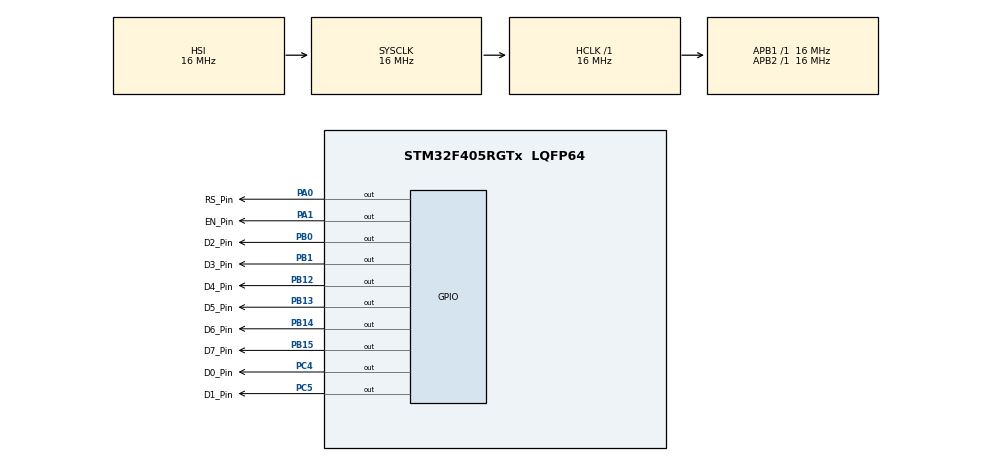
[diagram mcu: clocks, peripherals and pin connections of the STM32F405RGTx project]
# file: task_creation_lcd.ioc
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Mcu.Family=STM32F4
Mcu.Name=STM32F405RGTx
Mcu.Package=LQFP64
NVIC.PriorityGroup=NVIC_PRIORITYGROUP_4
PA0-WKUP.GPIO_Label=RS_Pin
PA0-WKUP.Signal=GPIO_Output
PA1.GPIO_Label=EN_Pin
PA1.Signal=GPIO_Output
PB0.GPIO_Label=D2_Pin
PB0.Signal=GPIO_Output
PB1.GPIO_Label=D3_Pin
PB1.Signal=GPIO_Output
PB12.GPIO_Label=D4_Pin
PB12.Signal=GPIO_Output
PB13.GPIO_Label=D5_Pin
PB13.Signal=GPIO_Output
PB14.GPIO_Label=D6_Pin
PB14.Signal=GPIO_Output
PB15.GPIO_Label=D7_Pin
PB15.Signal=GPIO_Output
PC4.GPIO_Label=D0_Pin
PC4.Signal=GPIO_Output
PC5.GPIO_Label=D1_Pin
PC5.Signal=GPIO_Output
ProjectManager.HeapSize=0x200
ProjectManager.StackSize=0x400
ProjectManager.TargetToolchain=STM32CubeIDE
RCC.AHBFreq_Value=16000000
RCC.APB1Freq_Value=16000000
RCC.APB2Freq_Value=16000000
RCC.CortexFreq_Value=16000000
RCC.HSE_VALUE=25000000
RCC.HSI_VALUE=16000000
RCC.LSE_VALUE=32768
RCC.SYSCLKFreq_VALUE=16000000
RCC.VCOOutputFreq_Value=192000000
board=custom

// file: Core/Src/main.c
/* USER CODE BEGIN Header */
/**
  ******************************************************************************
  * @file           : main.c
  * @brief          : Main program body
  ******************************************************************************
  * @attention
  *
  * Copyright (c) 2025 STMicroelectronics.
  * All rights reserved.
  *
  * This software is licensed under terms that can be found in the LICENSE file
  * in the root directory of this software component.
  * If no LICENSE file comes with this software, it is provided AS-IS.
  *
  ******************************************************************************
  ******************************************************************************
  */

//Remember third party remove exclude,include third party incude,protable->>gcc->>arm,exclude sysmem in properties.
/* USER CODE END Header */
#include "main.h"

/* USER CODE BEGIN Includes */
#include "FreeRTOS.h"
#include "task.h"
/* USER CODE END Includes */

void SystemClock_Config(void);
static void MX_GPIO_Init(void);
/* USER CODE BEGIN PFP */
void lcd_init();
void cmd(unsigned char C);
void data(unsigned char D);
void display(char *ptr);
static void myTask2(void* Parameter);
static void myTask1(void* Parameter);

/* USER CODE END PFP */

int main(void)
{
  /* USER CODE BEGIN 1 */
	   TaskHandle_t myTask1Handle;
	   TaskHandle_t myTask2Handle;

  /* USER CODE END 1 */

  /* MCU Configuration--------------------------------------------------------*/

  /* Reset of all peripherals, Initializes the Flash interface and the Systick. */
  HAL_Init();

  /* Configure the system clock */
  SystemClock_Config();

  /* Initialize all configured peripherals */
  MX_GPIO_Init();
  /* USER CODE BEGIN 2 */

  HAL_Delay(100);
  lcd_init();

    xTaskCreate(myTask1,"T1",256,NULL,1,&myTask1Handle);// function name,dummyname,size,para to pass,priority//handler has info about task so handler name is myTask1Handle
    xTaskCreate(myTask2,"T2",256,NULL,1,&myTask2Handle);
    vTaskStartScheduler();

  /* USER CODE END 2 */

  /* Infinite loop */
  /* USER CODE BEGIN WHILE */
  while (1)
  {cmd(0x80);

	 display("CAN");
    /* USER CODE END WHILE */

  }
}

void SystemClock_Config(void)
{
  RCC_OscInitTypeDef RCC_OscInitStruct = {0};
  RCC_ClkInitTypeDef RCC_ClkInitStruct = {0};

  /** Configure the main internal regulator output voltage
  */
  __HAL_RCC_PWR_CLK_ENABLE();
  __HAL_PWR_VOLTAGESCALING_CONFIG(PWR_REGULATOR_VOLTAGE_SCALE1);

  /** Initializes the RCC Oscillators according to the specified parameters
  * in the RCC_OscInitTypeDef structure.
  */
  RCC_OscInitStruct.OscillatorType = RCC_OSCILLATORTYPE_HSI;
  RCC_OscInitStruct.HSIState = RCC_HSI_ON;
  RCC_OscInitStruct.HSICalibrationValue = RCC_HSICALIBRATION_DEFAULT;
  RCC_OscInitStruct.PLL.PLLState = RCC_PLL_NONE;
  if (HAL_RCC_OscConfig(&RCC_OscInitStruct) != HAL_OK)
  {
    Error_Handler();
  }

  /** Initializes the CPU, AHB and APB buses clocks
  */
  RCC_ClkInitStruct.ClockType = RCC_CLOCKTYPE_HCLK|RCC_CLOCKTYPE_SYSCLK
                              |RCC_CLOCKTYPE_PCLK1|RCC_CLOCKTYPE_PCLK2;
  RCC_ClkInitStruct.SYSCLKSource = RCC_SYSCLKSOURCE_HSI;
  RCC_ClkInitStruct.AHBCLKDivider = RCC_SYSCLK_DIV1;
  RCC_ClkInitStruct.APB1CLKDivider = RCC_HCLK_DIV1;
  RCC_ClkInitStruct.APB2CLKDivider = RCC_HCLK_DIV1;

  if (HAL_RCC_ClockConfig(&RCC_ClkInitStruct, FLASH_LATENCY_0) != HAL_OK)
  {
    Error_Handler();
  }
}

static void MX_GPIO_Init(void)
{
  GPIO_InitTypeDef GPIO_InitStruct = {0};

  /* GPIO Ports Clock Enable */
  __HAL_RCC_GPIOA_CLK_ENABLE();
  __HAL_RCC_GPIOC_CLK_ENABLE();
  __HAL_RCC_GPIOB_CLK_ENABLE();

  /*Configure GPIO pin Output Level */
  HAL_GPIO_WritePin(GPIOA, RS_Pin_Pin|EN_Pin_Pin, GPIO_PIN_RESET);

  /*Configure GPIO pin Output Level */
  HAL_GPIO_WritePin(GPIOC, D0_Pin_Pin|D1_Pin_Pin, GPIO_PIN_RESET);

  /*Configure GPIO pin Output Level */
  HAL_GPIO_WritePin(GPIOB, D2_Pin_Pin|D3_Pin_Pin|D4_Pin_Pin|D5_Pin_Pin
                          |D6_Pin_Pin|D7_Pin_Pin, GPIO_PIN_RESET);

  /*Configure GPIO pins : RS_Pin_Pin EN_Pin_Pin */
  GPIO_InitStruct.Pin = RS_Pin_Pin|EN_Pin_Pin;
  GPIO_InitStruct.Mode = GPIO_MODE_OUTPUT_PP;
  GPIO_InitStruct.Pull = GPIO_NOPULL;
  GPIO_InitStruct.Speed = GPIO_SPEED_FREQ_LOW;
  HAL_GPIO_Init(GPIOA, &GPIO_InitStruct);

  /*Configure GPIO pins : D0_Pin_Pin D1_Pin_Pin */
  GPIO_InitStruct.Pin = D0_Pin_Pin|D1_Pin_Pin;
  GPIO_InitStruct.Mode = GPIO_MODE_OUTPUT_PP;
  GPIO_InitStruct.Pull = GPIO_NOPULL;
  GPIO_InitStruct.Speed = GPIO_SPEED_FREQ_LOW;
  HAL_GPIO_Init(GPIOC, &GPIO_InitStruct);

  /*Configure GPIO pins : D2_Pin_Pin D3_Pin_Pin D4_Pin_Pin D5_Pin_Pin
                           D6_Pin_Pin D7_Pin_Pin */
  GPIO_InitStruct.Pin = D2_Pin_Pin|D3_Pin_Pin|D4_Pin_Pin|D5_Pin_Pin
                          |D6_Pin_Pin|D7_Pin_Pin;
  GPIO_InitStruct.Mode = GPIO_MODE_OUTPUT_PP;
  GPIO_InitStruct.Pull = GPIO_NOPULL;
  GPIO_InitStruct.Speed = GPIO_SPEED_FREQ_LOW;
  HAL_GPIO_Init(GPIOB, &GPIO_InitStruct);

}

/* USER CODE BEGIN 4 */
void lcd_init()
	{
	    HAL_Delay(10);
	    cmd(0x30);
	    cmd(0x38);
	    cmd(0x06);
	    cmd(0x0C);
	    HAL_Delay(10);
	}

	void cmd(unsigned char C)
	{
	    HAL_GPIO_WritePin(GPIOA, RS_Pin_Pin,0);
	    HAL_GPIO_WritePin(GPIOC, D0_Pin_Pin,(C&0x01));
	    HAL_GPIO_WritePin(GPIOC, D1_Pin_Pin,(C&0x02));
	    HAL_GPIO_WritePin(GPIOB, D2_Pin_Pin,(C&0x04));
	    HAL_GPIO_WritePin(GPIOB, D3_Pin_Pin,(C&0x08));
	    HAL_GPIO_WritePin(GPIOB, D4_Pin_Pin,(C&0x10));
	    HAL_GPIO_WritePin(GPIOB, D5_Pin_Pin,(C&0x20));
	    HAL_GPIO_WritePin(GPIOB, D6_Pin_Pin,(C&0x40));
	    HAL_GPIO_WritePin(GPIOB, D7_Pin_Pin,(C&0x80));
	    HAL_GPIO_WritePin(GPIOA, EN_Pin_Pin,1);
	    HAL_Delay(1);
	    HAL_GPIO_WritePin(GPIOA, EN_Pin_Pin, 0);
	    HAL_Delay(1);
	}

	void data(unsigned char D)
	{
	    HAL_GPIO_WritePin(GPIOA,RS_Pin_Pin, 1);
	    HAL_GPIO_WritePin(GPIOC,D0_Pin_Pin,(D&0x01));
	    HAL_GPIO_WritePin(GPIOC, D1_Pin_Pin,(D&0x02));
	    HAL_GPIO_WritePin(GPIOB, D2_Pin_Pin,(D&0x04));
	    HAL_GPIO_WritePin(GPIOB, D3_Pin_Pin,(D&0x08));
	    HAL_GPIO_WritePin(GPIOB, D4_Pin_Pin,(D&0x10));
	    HAL_GPIO_WritePin(GPIOB, D5_Pin_Pin,(D&0x20));
	    HAL_GPIO_WritePin(GPIOB, D6_Pin_Pin,(D&0x40));
	    HAL_GPIO_WritePin(GPIOB, D7_Pin_Pin,(D&0x80));
	    HAL_GPIO_WritePin(GPIOA, EN_Pin_Pin,1);
	    HAL_Delay(1);
	    HAL_GPIO_WritePin(GPIOA, EN_Pin_Pin, 0);
	    HAL_Delay(1);
	}

	void display(char *ptr)
	{
	    while (*ptr != '\0')
	    {
	        data(*ptr++);
	        HAL_Delay(2);
	    }
	}

	static void myTask1(void* Parameter)
	{
	    while (1)
	    {
	        cmd(0x80);  // Line 1
	        display("Task 1 Running");
	        vTaskDelay(1000);
	    }
	}

	static void myTask2(void* Parameter)
	{
	    while (1)
	    {
	        cmd(0xC0);  // Line 2
	        display("Task 2 Running");
	        vTaskDelay(3000);
	    }
	}

/* USER CODE END 4 */

void Error_Handler(void)
{
  __disable_irq();
  while (1)
  {
  }
}
